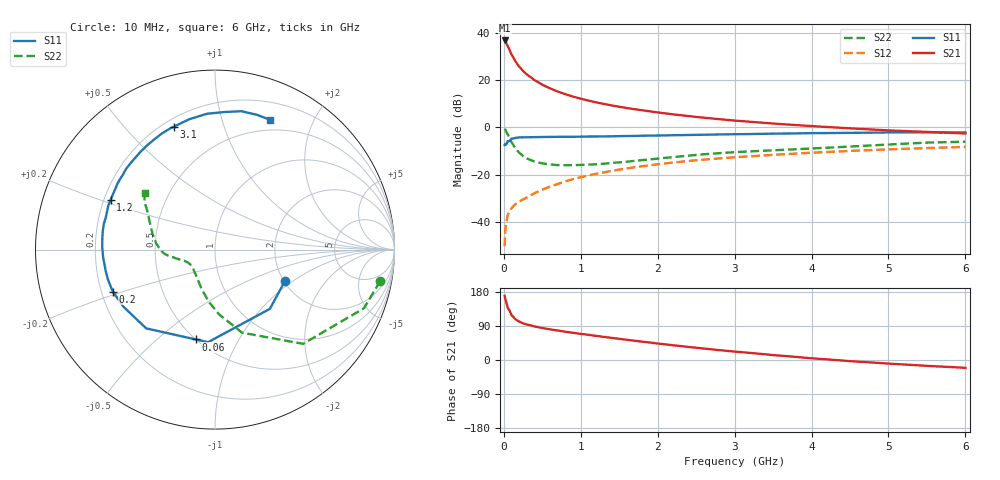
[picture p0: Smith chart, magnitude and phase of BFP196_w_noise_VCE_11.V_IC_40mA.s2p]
! (c) 2017  Infineon Technologies AG, Munich
! Infineon Technologies  Discrete & RF Semiconductors
! BFP196
! VCE =  11. V,  IC =  40 mA
! Common Emitter S-Parameters:  Jan 2017
# GHz  S  MA  R  50
!  f  S11  S21  S12  S22
! GHz  MAG  ANG  MAG  ANG  MAG  ANG  MAG  ANG
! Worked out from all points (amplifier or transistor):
!   77 points, 10 MHz to 6 GHz, reference 50 ohm
!   highest |S21| = 36.8 dB at 10 MHz (marker M1)
!   |S21| within 3 dB of that: start of sweep to 59.75 MHz
!   unconditionally stable (mu >= 1): 641.3 MHz to 2.396 GHz
!   at 130 MHz: K = 0.53, MSG = 31.1 dB, |S12| = -33.1 dB
!   at 2.2 GHz: K = 1.01, MAG = 9.5 dB, |S12| = -14.8 dB
!   at 6 GHz: K = 0.93, MSG = 2.8 dB, |S12| = -8.2 dB
!   lowest NFmin = 1.34 dB at 450 MHz
!   S11 on the Smith chart (normalised r, x): 10 MHz: 2.02, -0.87; 60 MHz: 0.50, -0.68; 200 MHz: 0.25, -0.19; 1.2 GHz: 0.23, +0.22; 3.1 GHz: 0.24, +0.69; 6 GHz: 0.38, +1.44
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0.01  0.4272 -24.3  68.89 169.4  0.0031 73.9  0.9369 -10.8
0.02  0.45 -47.2  66.56 160.1  0.007 76.5  0.8919 -21.5
0.05  0.5173 -94.3  52.6 137.7  0.0141 57.3  0.7187 -46.9
0.06  0.5119 -102.1  48.67 134.9  0.0152 55.7  0.6646 -50.5
0.1  0.5827 -131.1  34.79 117.7  0.0197 51.2  0.4874 -71.9
0.15  0.6014 -148.1  24.95 107.6  0.0239 49.8  0.3616 -86.4
0.2  0.6156 -157.6  19.27 101.3  0.027 52.5  0.2932 -96.7
0.25  0.6194 -164.4  15.61 96.7  0.0302 54.4  0.2499 -104.3
0.3  0.6205 -168.9  13.11 93.6  0.033 56.0  0.2212 -111.2
0.4  0.6247 -176.0  9.962 88.4  0.041 59.5  0.1898 -121.2
0.5  0.6285 178.7  7.993 84.4  0.0483 61.2  0.1741 -128.9
0.6  0.6307 174.5  6.696 80.9  0.0564 62.6  0.1657 -135.3
0.7  0.6337 170.7  5.749 77.8  0.0639 63.8  0.16 -140.1
0.9  0.6343 163.7  4.479 71.8  0.0811 63.4  0.1599 -146.9
1.1  0.6429 157.6  3.694 66.4  0.0972 62.3  0.1641 -152.2
1.2  0.6443 154.5  3.389 63.6  0.1048 61.6  0.1667 -154.4
1.6  0.6591 143.3  2.572 53.3  0.1364 58.0  0.1886 -161.1
2.1  0.6794 129.9  1.981 41.3  0.1737 52.1  0.228 -168.2
3.1  0.7222 108.5  1.358 20.5  0.2402 39.5  0.306 179.7
4.1  0.7593 91.8  1.045 3.1  0.2971 27.9  0.3657 163.8
5.1  0.7845 77.9  0.854 -10.6  0.3485 16.4  0.4442 149.1
6  0.7857 66.9  0.746 -20.7  0.3885 6.3  0.5004 141.3
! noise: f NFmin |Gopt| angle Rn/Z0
0.45  1.34  0.36  177  0.05
0.9  1.49  0.46  -167  0.07
1.9  2.31  0.68  -133  0.28
2.4  2.71  0.7  -120  0.62
